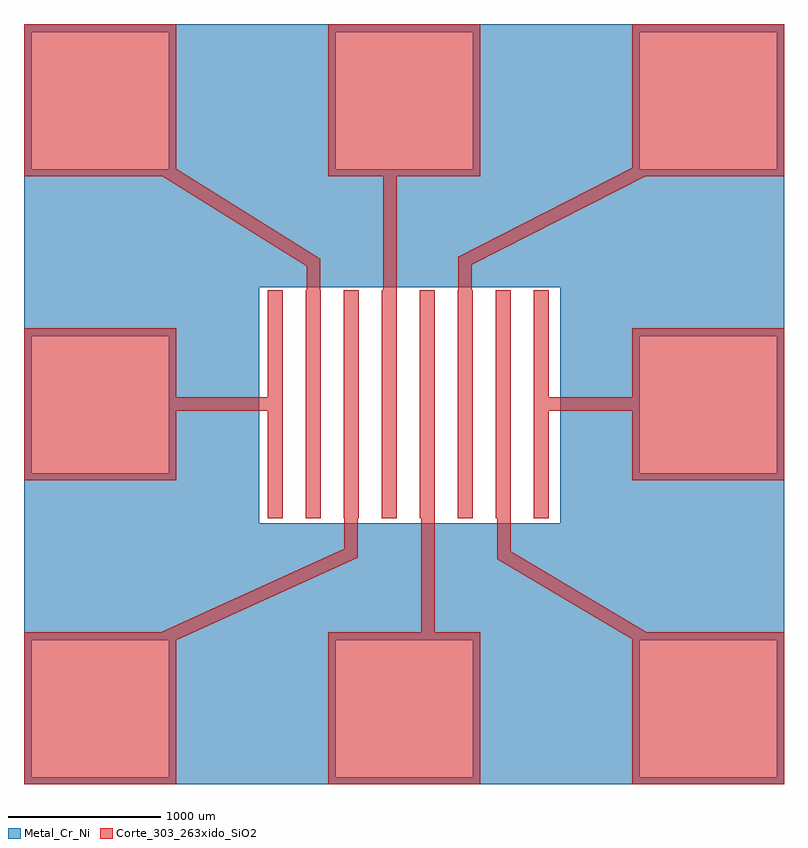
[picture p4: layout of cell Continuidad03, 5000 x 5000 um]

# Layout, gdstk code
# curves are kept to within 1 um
import gdstk
lib = gdstk.Library(unit=1e-6, precision=1e-06)
def P(c, l, *ps):  # polygons
    for p in ps: c.add(gdstk.Polygon(p, *l))
Corte_303_263xido_SiO2 = (1, 0)
Metal_Cr_Ni = (2, 0)

continuidad03 = lib.new_cell('Continuidad03')
P(continuidad03, Corte_303_263xido_SiO2, [(469071,1414),(469071,2914),(469077,2914),(469077,3069),(468127,3664),(467218,3664),(467218,4664),(468218,4664),(468218,3713),(469167,3118),(469167,2914),(469171,2914),(469171,1414)],
  [(469571,1414),(469571,2914),(469580,2914),(469580,3664),(469218,3664),(469218,4664),(470218,4664),(470218,3664),(469670,3664),(469670,2914),(469671,2914),(469671,1414)],
  [(470071,1414),(470071,2914),(470075,2914),(470075,3134),(471218,3718),(471218,4664),(472218,4664),(472218,3664),(471310,3664),(470165,3079),(470165,2914),(470171,2914),(470171,1414)],
  [(470571,1414),(470571,2914),(470671,2914),(470671,2209),(471218,2209),(471218,2664),(472218,2664),(472218,1664),(471218,1664),(471218,2119),(470671,2119),(470671,1414)],
  [(471218,-336),(471218,616),(470330,1144),(470330,1414),(470321,1414),(470321,2914),(470421,2914),(470420,1195),(471314,664),(472218,664),(472218,-336)],
  [(469218,-336),(469218,664),(469831,664),(469831,1414),(469821,1414),(469821,2914),(469921,2914),(469921,664),(470218,664),(470218,-336)],
  [(467218,-336),(467218,664),(468118,664),(469325,1211),(469325,1414),(469321,1414),(469321,2914),(469421,2914),(469421,1414),(469415,1414),(469415,1153),(468218,610),(468218,-336)],
  [(468821,1414),(468821,2119),(468218,2119),(468218,1664),(467218,1664),(467218,2664),(468218,2664),(468218,2209),(468821,2209),(468821,2914),(468921,2914),(468921,1414)])
P(continuidad03, Metal_Cr_Ni, [(467218,-336),(467218,610),(467269,610),(467269,-290),(468169,-290),(468169,610),(469269,610),(469269,-290),(470169,-290),(470169,610),(471269,610),(471269,-290),(472169,-290),(472169,610),(467218,610),(467218,2610),(467269,2610),(467269,1710),(468169,1710),(468169,2610),(467218,2610),(467218,2933),(468766,2933),(468766,1381),(470747,1381),(470747,2610),(471269,2610),(471269,1710),(472169,1710),(472169,2610),(470747,2610),(470747,2933),(467218,2933),(467218,4610),(467269,4610),(467269,3710),(468169,3710),(468169,4610),(469269,4610),(469269,3710),(470169,3710),(470169,4610),(471269,4610),(471269,3710),(472169,3710),(472169,4610),(467218,4610),(467218,4664),(472218,4664),(472218,-336)])

lib.write_gds('Continuidad03.gds')
